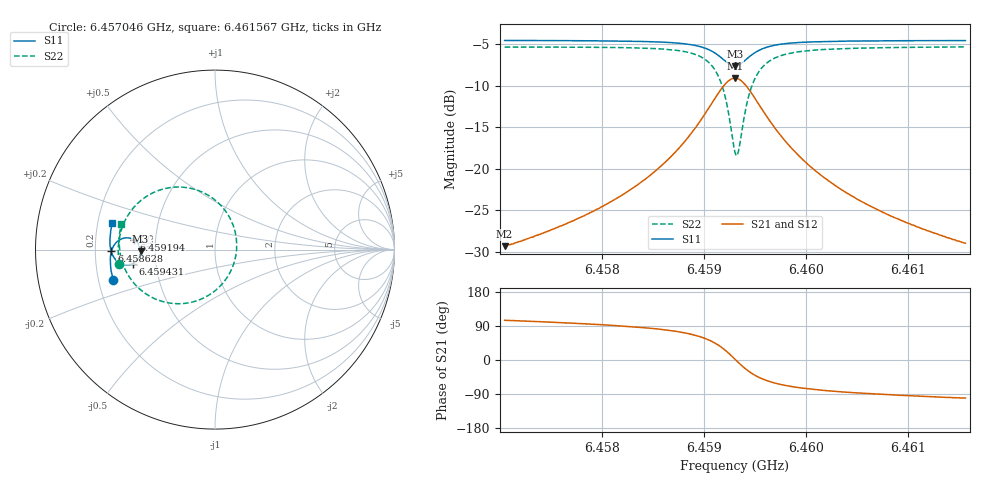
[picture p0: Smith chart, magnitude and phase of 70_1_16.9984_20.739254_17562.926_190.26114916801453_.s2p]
#  HZ  S  RI  R  50.00
! Rohde & Schwarz Vector Network Analyzer
! Rohde-Schwarz,ZNB20-2Port,1311601062101988,3.16
! Created: UTC 3/20/2024, 10:55:10 PM
! freq[Hz]  re:S11  im:S11  re:S21  im:S21  re:S12  im:S12  re:S22  im:S22
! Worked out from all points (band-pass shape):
!   401 points, 6.457046 GHz to 6.461567 GHz, reference 50 ohm
!   highest |S21| = -9.09 dB at 6.459307 GHz (marker M1); lowest = -29.3 dB at 6.457046 GHz (marker M2)
!   |S21| within 3 dB of the highest: 6.45908 GHz to 6.459532 GHz (452.2 kHz wide, 0.007 % of centre)
!   lowest |S11| = -7.6 dB at 6.459307 GHz (marker M3), VSWR 2.42, Z = 20.7 - j0.508 ohm
!   |S11| at or under -10 dB: nowhere
!   |S22| runs from -18.4 to -5.3 dB; largest |S21 - S12| = 0.014
!   S11 on the Smith chart (normalised r, x): 6.457046 GHz: 0.26, -0.14; 6.458628 GHz: 0.27, -0.01; 6.459194 GHz: 0.38, +0.05; 6.459431 GHz: 0.37, -0.07; 6.461567 GHz: 0.26, +0.12
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6.4570456e9  -0.5675 -0.1684  -0.00881 0.0332  -0.00699 0.0329  -0.5346 -0.0777
6.457803e9  -0.5808 -0.1017  -0.00524 0.0513  -0.00279 0.0507  -0.539 0.0119
6.4581874e9  -0.5835 -0.0631  0.00014 0.0689  0.00321 0.0676  -0.5311 0.0729
6.4585604e9  -0.5793 -0.0183  0.0151 0.1002  0.0191 0.0975  -0.5035 0.1571
6.4586283e9  -0.5771 -0.00893  0.0206 0.1087  0.0247 0.1055  -0.4931 0.1771
6.4588205e9  -0.5641 0.0216  0.0477 0.1401  0.0517 0.1352  -0.442 0.2465
6.4589674e9  -0.5411 0.0479  0.0938 0.1708  0.0971 0.1642  -0.3568 0.3108
6.4591031e9  -0.4961 0.0653  0.1826 0.1871  0.1835 0.1799  -0.1947 0.3485
6.4591935e9  -0.4508 0.0545  0.2739 0.1548  0.2742 0.1491  -0.0259 0.2956
6.4592613e9  -0.4214 0.0216  0.3348 0.0813  0.3373 0.0761  0.0897 0.1628
6.4593066e9  -0.4144 -0.0102  0.3509 0.0122  0.3549 0.00508  0.1209 0.0334
6.4593405e9  -0.4187 -0.0343  0.3448 -0.041  0.3487 -0.0503  0.1082 -0.0675
6.4593857e9  -0.4345 -0.061  0.3152 -0.1016  0.3175 -0.1138  0.0483 -0.1816
6.4594309e9  -0.4571 -0.0776  0.272 -0.1429  0.2715 -0.1564  -0.0389 -0.2564
6.4595213e9  -0.5012 -0.0846  0.1861 -0.174  0.1798 -0.1857  -0.2103 -0.3016
6.4595892e9  -0.5259 -0.0772  0.137 -0.1716  0.129 -0.1806  -0.3047 -0.2855
6.4596683e9  -0.5457 -0.0641  0.0971 -0.1595  0.0884 -0.1656  -0.3794 -0.2501
6.4598266e9  -0.5676 -0.0363  0.0516 -0.1309  0.044 -0.1335  -0.4599 -0.1768
6.460064e9  -0.5806 -0.000813  0.0223 -0.0987  0.0164 -0.0993  -0.5081 -0.0935
6.4603918e9  -0.5852 0.0386  0.00657 -0.0721  0.00239 -0.0717  -0.5291 -0.0161
6.4608214e9  -0.5837 0.0822  -0.00147 -0.0526  -0.00448 -0.0518  -0.5335 0.054
6.4615675e9  -0.5719 0.1487  -0.00653 -0.0352  -0.00831 -0.0342  -0.5222 0.1432
